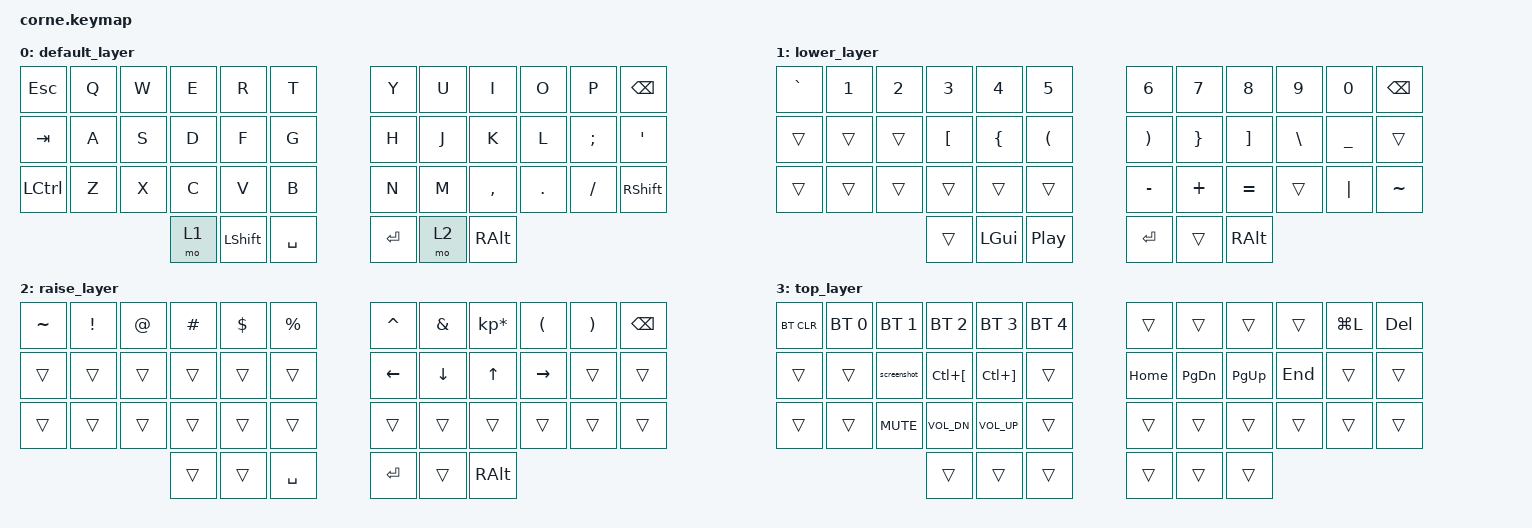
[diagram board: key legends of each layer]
/*
 * Copyright (c) 2020 The ZMK Contributors
 *
 * SPDX-License-Identifier: MIT
 */

#include <behaviors.dtsi>
#include <dt-bindings/zmk/keys.h>
#include <dt-bindings/zmk/bt.h>

/ {
    keymap {
      compatible = "zmk,keymap";

      default_layer {
// -----------------------------------------------------------------------------------------
// | ESC  |  Q  |  W  |  E   |  R   |  T  | XX |  Y  |  U   |  I  |  O  |  P  | BKSP |
// | TAB  |  A  |  S  |  D   |  F   |  G  | XX |  H  |  J   |  K  |  L  |  ;  |  '   |
// | SHFT |  Z  |  X  |  C   |  V   |  B  | XX |  N  |  M   |  ,  |  .  |  /  | ESC  |
//                    | LWR  | SHFT | SPC | XX | ENT | RSE  | ALT |
        bindings = <
&kp ESC   &kp Q &kp W &kp E      &kp R &kp T     /*XX*/  &kp Y   &kp U  &kp I     &kp O   &kp P    &kp BSPC
&kp TAB   &kp A &kp S &kp D      &kp F &kp G     /*XX*/  &kp H   &kp J  &kp K     &kp L   &kp SEMI &kp SQT
&kp LCTRL &kp Z &kp X &kp C      &kp V &kp B     /*XX*/  &kp N   &kp M  &kp COMMA &kp DOT &kp FSLH &kp RSHFT
                &mo 1 &kp LSHIFT &kp SPACE /*XX*/  &kp RET &mo 2  &kp RALT
        >;
      };

      lower_layer {
// -----------------------------------------------------------------------------------------
// |  `   |  1  |  2  |  3  |  4  |   5   | XX |  6  |  7  |  8  |  9  |  0  | BKSP |
// |      |     |     |  [  |  {  |   (   | XX |  )  |  }  |  ]  |  \  |  _  |      |
// | SHFT |     |     |     |     |       | XX |  -  |  +  |  =  |  .  | "|" |  ~   |
//                    | GUI | UP  |Pl/PAUS| XX | ENT |     | ALT |
        bindings = <
&kp GRAVE &kp N1  &kp N2   &kp N3   &kp N4   &kp N5    /*XX*/  &kp N6    &kp N7   &kp N8    &kp N9    &kp N0    &kp BSPC
&trans    &trans  &trans   &kp LBKT &kp LBRC &kp LPAR  /*XX*/  &kp RPAR  &kp RBRC &kp RBKT  &kp BSLH  &kp UNDER &trans
&trans    &trans  &trans   &trans   &trans   &trans    /*XX*/  &kp MINUS &kp PLUS &kp EQUAL &trans     &kp PIPE  &kp TILDE
                           &trans   &kp LGUI &kp C_PP  /*XX*/  &kp RET   &trans    &kp RALT
        >;
      };

      raise_layer {
// -----------------------------------------------------------------------------------------
// |  ~   |  !  |  @  |  #  |  $  |  %  | XX |  ^  |  &  |  *  |  (  |  )  | BKSP |
// | CTRL |     |     |     |     |     | XX | LFT | DWN |  UP | RGT |     |      |
// | SHFT |     |     |     |     |     | XX |     |     |     |     |     |      |
//                    | GUI |     | SPC | XX | ENT |     | ALT |
        bindings = <
&kp TILDE &kp EXCL &kp AT &kp HASH &kp DLLR &kp PRCNT  /*XX*/   &kp CARET &kp AMPS  &kp KP_MULTIPLY &kp LPAR  &kp RPAR &kp BSPC
&trans    &trans   &trans &trans   &trans   &trans     /*XX*/   &kp LEFT  &kp DOWN  &kp UP          &kp RIGHT &trans   &trans
&trans    &trans   &trans &trans   &trans   &trans     /*XX*/   &trans    &trans    &trans          &trans    &trans   &trans
                          &trans   &trans   &kp SPACE  /*XX*/   &kp RET   &trans    &kp RALT
        >;
      };

      top_layer {
// -----------------------------------------------------------------------------------------
// |BTCLR | BT1  | BT2  | BT3    | BT4 | BT5 | XX |      |       |      |     | LOCK | DEL |
// |      |      |      | <Indt  |>Indt|     | XX | Home | PgDwn | PgUp | End |      |     |
// |      |      | MUTE | VOLDWN |VOLUP| BT5 | XX |      |       |      |     |      |     |
//                      |        |     |     | XX |      |       |      |
        bindings = <
&bt BT_CLR  &bt BT_SEL 0  &bt BT_SEL 1  &bt BT_SEL 2  &bt BT_SEL 3 &bt BT_SEL 4 /*XX*/  &trans   &trans        &trans      &trans  &kp LG(L) &kp DEL
&trans      &trans        &screenshot   &kp LC(LBKT)  &kp LC(RBKT) &trans       /*XX*/  &kp HOME &kp PAGE_DOWN &kp PAGE_UP &kp END &trans &trans
&trans      &trans        &kp C_MUTE    &kp C_VOL_DN  &kp C_VOL_UP &trans       /*XX*/  &trans   &trans        &trans      &trans  &trans &trans
                                        &trans        &trans       &trans       /*XX*/  &trans   &trans        &trans
        >;
      };
    };
    conditional_layers {
      compatible = "zmk,conditional-layers";
      tri_layer {
        if-layers = <1 2>;
        then-layer = <3>;
      };
    };
    macros {
      easy_arrow_fn: easy_arrow_fn {
        label = "EASY_ARROW_FN";
        compatible = "zmk,behavior-macro";
        #binding-cells = <0>;
        bindings = <&kp EQUAL &kp GREATER_THAN>;
      };
      screenshot: screenshot {
        label = "SCREENSHOT";
        compatible = "zmk,behavior-macro";
        #binding-cells = <0>;
        bindings = <&macro_press &kp LGUI>, <&macro_press &kp LSHFT>, <&macro_tap &kp S>, <&macro_release &kp LSHFT>, <&macro_release &kp LGUI>;
      };
    };
    combos {
      compatible = "zmk,combos";
      combo_esc {
        timeout-ms = <50>;
        layers = <0>;
        key-positions = <32 33>;
        bindings = <&easy_arrow_fn>;
      };
    };
};
